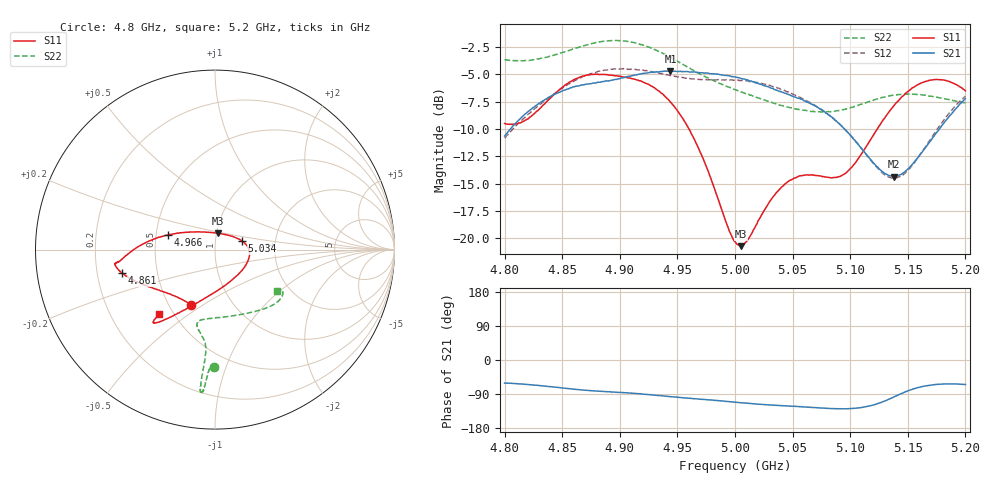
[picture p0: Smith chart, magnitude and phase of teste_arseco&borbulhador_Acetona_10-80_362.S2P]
! Network Analyzer HP8722D
! Hewlett-Packard
! Data name: Linha & Wilkinson
! Saver's name: Rodrigo Anjos
! Comments: Teste da utilização de aquisição
! continua pelo VNA HP8722D
! Time and date: 17/4/2025 17:22
!  Frequency  S11  S21  S12  S22
# HZ  S  MA R 50
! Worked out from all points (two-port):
!   401 points, 4.8 GHz to 5.2 GHz, reference 50 ohm
!   highest |S21| = -4.69 dB at 4.944 GHz (marker M1); lowest = -14.4 dB at 5.138 GHz (marker M2)
!   |S21| within 3 dB of the highest: 4.829 GHz to 5.066 GHz (236.6 MHz wide, 4.78 % of centre); 5.195489 GHz to end of sweep
!   lowest |S11| = -20.7 dB at 5.005 GHz (marker M3), VSWR 1.20, Z = 50.6 + j9.26 ohm
!   |S11| at or under -10 dB: 4.96 GHz to 5.123 GHz (163.5 MHz wide, 3.24 % of centre)
!   |S22| runs from -8.4 to -1.9 dB; largest |S21 - S12| = 0.87
!   S11 on the Smith chart (normalised r, x): 4.8 GHz: 0.64, -0.44; 4.861 GHz: 0.31, -0.11; 4.966 GHz: 0.58, +0.10; 5.034 GHz: 1.34, +0.13; 5.2 GHz: 0.42, -0.39
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4.8e9  0.3352 -114.0  0.2935 -61.1  0.2874 -175.1  0.6564 -90.3
4.819e9  0.3493 -133.9  0.3744 -64.4  0.3624 -173.9  0.6521 -91.8
4.861e9  0.5343 -165.8  0.4947 -77.4  0.5271 -177.1  0.738 -94.1
4.867e9  0.55 -168.2  0.5035 -79.0  0.5454 -178.3  0.7569 -94.2
4.899e9  0.5522 -172.6  0.5362 -85.6  0.5947 175.3  0.8023 -95.6
4.934e9  0.4712 -178.4  0.5774 -93.9  0.5704 171.5  0.7157 -95.9
4.944e9  0.4206 177.1  0.5827 -96.6  0.5551 171.7  0.6733 -95.7
4.966e9  0.2743 162.8  0.5748 -102.2  0.5342 173.5  0.5776 -95.1
5e9  0.0963 99.7  0.5472 -111.5  0.5305 175.9  0.4787 -99.0
5.005e9  0.09187 81.1  0.5383 -112.8  0.527 176.0  0.4675 -100.4
5.012e9  0.09975 58.0  0.5252 -114.5  0.5219 175.7  0.4548 -101.6
5.034e9  0.1566 18.2  0.4798 -119.5  0.493 174.7  0.4141 -103.5
5.049e9  0.185 3.1  0.4478 -122.0  0.4601 174.0  0.3952 -99.6
5.067e9  0.195 -15.9  0.4097 -125.0  0.4142 173.4  0.3801 -90.1
5.096e9  0.1983 -66.7  0.3124 -128.6  0.3121 174.7  0.39 -67.7
5.122e9  0.3081 -107.6  0.2159 -116.9  0.2139 -171.6  0.4317 -49.2
5.134e9  0.3804 -117.3  0.1934 -102.9  0.1898 -155.9  0.4481 -43.1
5.138e9  0.4048 -119.5  0.1913 -97.3  0.1882 -149.6  0.4514 -41.2
5.15e9  0.4686 -124.9  0.2069 -81.6  0.2042 -131.2  0.4565 -36.9
5.17e9  0.5292 -129.4  0.2794 -66.1  0.2856 -112.3  0.4469 -32.1
5.184e9  0.5252 -130.6  0.3511 -63.2  0.3633 -107.5  0.4327 -31.2
5.2e9  0.4727 -130.9  0.4354 -64.7  0.4469 -106.8  0.4157 -33.5
